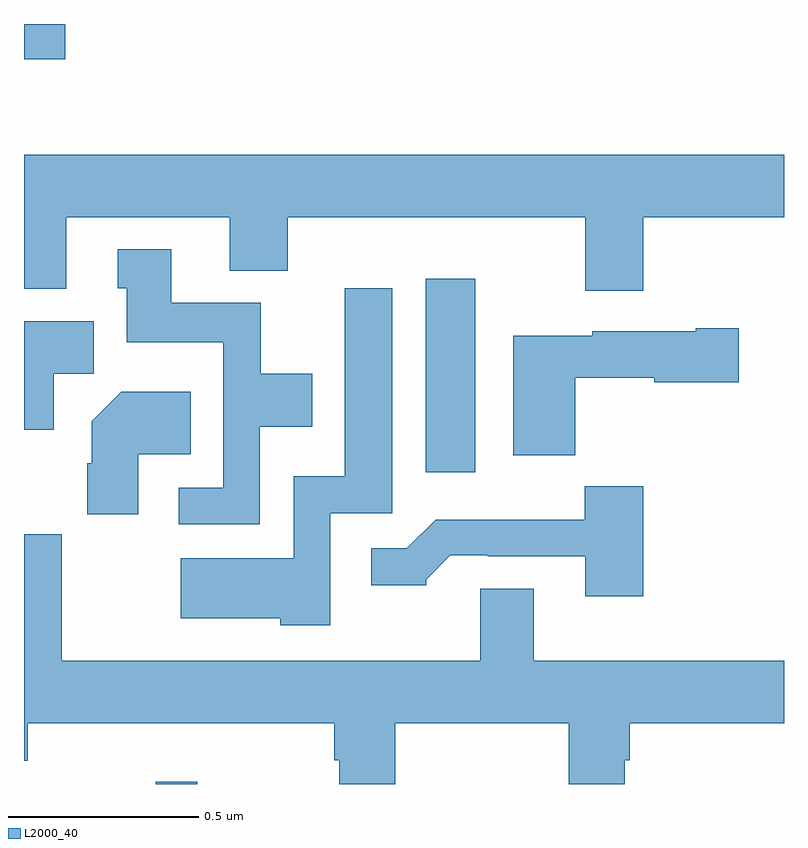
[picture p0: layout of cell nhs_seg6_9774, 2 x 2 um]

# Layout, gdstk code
import gdstk
lib = gdstk.Library(unit=1e-6, precision=1e-09)
def R(c, l, rs):  # rectangles x0, y0, x1, y1
    for r in rs: c.add(gdstk.rectangle(r[:2], r[2:], *l))
def P(c, l, *ps):  # polygons
    for p in ps: c.add(gdstk.Polygon(p, *l))
L2000_40 = (2000, 40)

nhs_seg6_9774 = lib.new_cell('nhs_seg6_9774')
R(nhs_seg6_9774, L2000_40, [(238.347,956.5,238.456,956.506), (239.057,957.321,239.188,957.829), (238,958.407,238.109,958.5)])
P(nhs_seg6_9774, L2000_40, [(239.63,957.992),(240,957.992),(240,958.156),(238,958.156),(238,957.803),(238.111,957.803),(238.111,957.992),(238.541,957.992),(238.541,957.851),(238.694,957.851),(238.694,957.992),(239.477,957.992),(239.477,957.798),(239.63,957.798)],
  [(238.62,957.44),(238.759,957.44),(238.759,957.58),(238.623,957.58),(238.623,957.766),(238.387,957.766),(238.387,957.907),(238.247,957.907),(238.247,957.804),(238.271,957.804),(238.271,957.662),(238.524,957.662),(238.524,957.279),(238.407,957.279),(238.407,957.183),(238.62,957.183)],
  [(238.806,957.213),(238.969,957.213),(238.969,957.805),(238.844,957.805),(238.844,957.31),(238.71,957.31),(238.71,957.094),(238.413,957.094),(238.413,956.936),(238.674,956.936),(238.674,956.918),(238.806,956.918)],
  [(238.078,957.58),(238.183,957.58),(238.183,957.718),(238,957.718),(238,957.432),(238.078,957.432)],
  [(239.45,957.569),(239.658,957.569),(239.658,957.557),(239.881,957.557),(239.881,957.699),(239.768,957.699),(239.768,957.691),(239.496,957.691),(239.496,957.679),(239.288,957.679),(239.288,957.365),(239.45,957.365)],
  [(238.3,957.368),(238.439,957.368),(238.439,957.532),(238.256,957.532),(238.178,957.454),(238.178,957.344),(238.166,957.344),(238.166,957.21),(238.3,957.21)],
  [(239.63,957.283),(239.475,957.283),(239.475,957.196),(239.083,957.196),(239.007,957.12),(238.914,957.12),(238.914,957.023),(239.058,957.023),(239.058,957.038),(239.122,957.102),(239.221,957.102),(239.221,957.099),(239.477,957.099),(239.477,956.994),(239.63,956.994)],
  [(238.977,956.66),(239.434,956.66),(239.434,956.5),(239.581,956.5),(239.581,956.562),(239.594,956.562),(239.594,956.66),(240,956.66),(240,956.824),(239.341,956.824),(239.341,957.014),(239.201,957.014),(239.201,956.824),(238.099,956.824),(238.099,957.157),(238,957.157),(238,956.561),(238.01,956.561),(238.01,956.66),(238.817,956.66),(238.817,956.562),(238.829,956.562),(238.829,956.5),(238.977,956.5)])

lib.write_gds('nhs_seg6_9774.gds')
